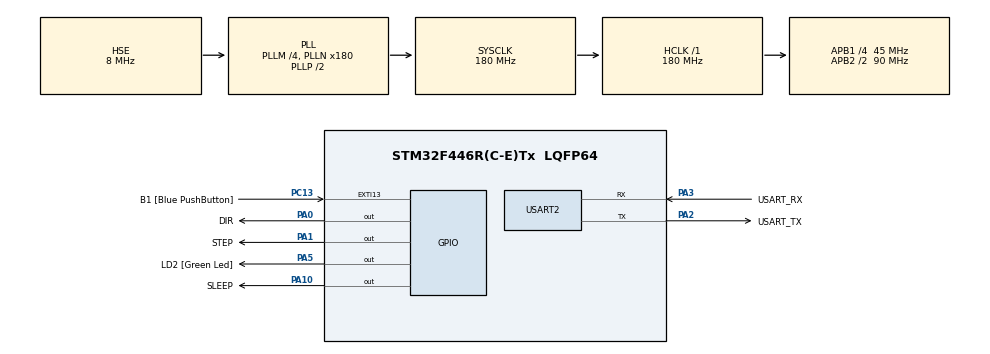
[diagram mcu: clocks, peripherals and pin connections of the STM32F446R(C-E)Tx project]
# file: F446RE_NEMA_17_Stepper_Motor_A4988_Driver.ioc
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Mcu.Family=STM32F4
Mcu.Name=STM32F446R(C-E)Tx
Mcu.Package=LQFP64
NVIC.EXTI15_10_IRQn=true\:0\:0\:false\:false\:true\:true\:true\:true
NVIC.PriorityGroup=NVIC_PRIORITYGROUP_0
NVIC.TIM1_UP_TIM10_IRQn=true\:0\:0\:false\:false\:true\:true\:true\:true
PA0-WKUP.GPIO_Label=DIR
PA0-WKUP.Signal=GPIO_Output
PA1.GPIO_Label=STEP
PA1.Signal=GPIO_Output
PA10.GPIO_Label=SLEEP
PA10.Signal=GPIO_Output
PA13.GPIO_Label=TMS
PA13.Mode=Serial_Wire
PA13.Signal=SYS_JTMS-SWDIO
PA14.GPIO_Label=TCK
PA14.Mode=Serial_Wire
PA14.Signal=SYS_JTCK-SWCLK
PA2.GPIO_Label=USART_TX
PA2.Mode=Asynchronous
PA2.Signal=USART2_TX
PA3.GPIO_Label=USART_RX
PA3.Mode=Asynchronous
PA3.Signal=USART2_RX
PA5.GPIO_Label=LD2 [Green Led]
PA5.Signal=GPIO_Output
PB3.GPIO_Label=SWO
PB3.Signal=SYS_JTDO-SWO
PC13.GPIO_Label=B1 [Blue PushButton]
PC13.GPIO_ModeDefaultEXTI=GPIO_MODE_IT_FALLING
PC13.Signal=GPXTI13
PC14-OSC32_IN.Mode=LSE-External-Oscillator
PC14-OSC32_IN.Signal=RCC_OSC32_IN
PC15-OSC32_OUT.Mode=LSE-External-Oscillator
PC15-OSC32_OUT.Signal=RCC_OSC32_OUT
PH0-OSC_IN.Mode=HSE-External-Oscillator
PH0-OSC_IN.Signal=RCC_OSC_IN
PH1-OSC_OUT.Mode=HSE-External-Oscillator
PH1-OSC_OUT.Signal=RCC_OSC_OUT
ProjectManager.HeapSize=0x200
ProjectManager.StackSize=0x400
ProjectManager.TargetToolchain=STM32CubeIDE
RCC.48MHZClocksFreq_Value=84000000
RCC.AHBFreq_Value=180000000
RCC.APB1CLKDivider=RCC_HCLK_DIV4
RCC.APB1Freq_Value=45000000
RCC.APB1TimFreq_Value=90000000
RCC.APB2CLKDivider=RCC_HCLK_DIV2
RCC.APB2Freq_Value=90000000
RCC.APB2TimFreq_Value=180000000
RCC.CortexFreq_Value=180000000
RCC.FLatency-AdvancedSettings=FLASH_LATENCY_5
RCC.HCLKFreq_Value=180000000
RCC.HSE_VALUE=8000000
RCC.HSI_VALUE=16000000
RCC.PLLM=4
RCC.PLLN=180
RCC.PLLSourceVirtual=RCC_PLLSOURCE_HSE
RCC.SYSCLKFreq_VALUE=180000000
RCC.SYSCLKSource=RCC_SYSCLKSOURCE_PLLCLK
RCC.USBFreq_Value=180000000
RCC.VCOOutputFreq_Value=360000000
TIM1.Period=1000-1
TIM1.Prescaler=180-1
USART2.VirtualMode=VM_ASYNC
VP_TIM1_VS_ClockSourceINT.Mode=Internal
board=NUCLEO-F446RE

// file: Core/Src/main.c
/* USER CODE BEGIN Header */
/**
  ******************************************************************************
  * @file           : main.c
  * @brief          : Main program body
  ******************************************************************************
  * @attention
  *
  * Copyright (c) 2024 STMicroelectronics.
  * All rights reserved.
  *
  * This software is licensed under terms that can be found in the LICENSE file
  * in the root directory of this software component.
  * If no LICENSE file comes with this software, it is provided AS-IS.
  *
  ******************************************************************************
  */
/* USER CODE END Header */
#include "main.h"

TIM_HandleTypeDef htim1;

UART_HandleTypeDef huart2;

void SystemClock_Config(void);
static void MX_GPIO_Init(void);
static void MX_USART2_UART_Init(void);
static void MX_TIM1_Init(void);

/* USER CODE BEGIN 0 */
uint16_t counter = 0;
uint16_t counter1 = 0;
void Motor_Forward_rev(uint16_t rev,uint16_t msdelay)
{
	  HAL_GPIO_WritePin(DIR_GPIO_Port, DIR_Pin, 1);

	  for(uint16_t i = 0 ;i < (rev * 200) ; i++)
	  {
		  HAL_GPIO_WritePin(STEP_GPIO_Port, STEP_Pin, 1);
		  HAL_Delay(msdelay);
		  HAL_GPIO_WritePin(STEP_GPIO_Port, STEP_Pin, 0);
		  HAL_Delay(msdelay);

	  }

}

void Motor_Reverse_rev(uint16_t rev,uint16_t msdelay)
{
	  HAL_GPIO_WritePin(DIR_GPIO_Port, DIR_Pin, 0);

	  for(uint16_t i = 0 ; i < (rev *200) ; i++)
	  {
		  HAL_GPIO_WritePin(STEP_GPIO_Port, STEP_Pin, 1);
		  HAL_Delay(msdelay);
		  HAL_GPIO_WritePin(STEP_GPIO_Port, STEP_Pin, 0);
		  HAL_Delay(msdelay);
	  }
}

void HAL_TIM_PeriodElapsedCallback(TIM_HandleTypeDef *htim)
{
	if(htim->Instance == TIM1)
	{
		counter++;
		counter1++;
		if(counter == 400)
		  {
			HAL_GPIO_WritePin(STEP_GPIO_Port, STEP_Pin, 1);
			counter = 0;
		  }
		if(counter1 == 400)
		  {
			HAL_GPIO_WritePin(STEP_GPIO_Port, STEP_Pin, 0);
			counter1 = 0;
		  }
	}
}
/* USER CODE END 0 */

int main(void)
{

  /* MCU Configuration--------------------------------------------------------*/

  /* Reset of all peripherals, Initializes the Flash interface and the Systick. */
  HAL_Init();

  /* Configure the system clock */
  SystemClock_Config();

  /* Initialize all configured peripherals */
  MX_GPIO_Init();
  MX_USART2_UART_Init();
  MX_TIM1_Init();
  /* USER CODE BEGIN 2 */
  HAL_TIM_Base_Start_IT(&htim1);
  /* USER CODE END 2 */

  /* Infinite loop */
  /* USER CODE BEGIN WHILE */
  while (1)
  {

	  //HAL_Delay(1000);
//	  Motor_Reverse_rev(5,5);
//	  HAL_Delay(1000);

    /* USER CODE END WHILE */

  }
}

void SystemClock_Config(void)
{
  RCC_OscInitTypeDef RCC_OscInitStruct = {0};
  RCC_ClkInitTypeDef RCC_ClkInitStruct = {0};

  /** Configure the main internal regulator output voltage
  */
  __HAL_RCC_PWR_CLK_ENABLE();
  __HAL_PWR_VOLTAGESCALING_CONFIG(PWR_REGULATOR_VOLTAGE_SCALE1);

  /** Initializes the RCC Oscillators according to the specified parameters
  * in the RCC_OscInitTypeDef structure.
  */
  RCC_OscInitStruct.OscillatorType = RCC_OSCILLATORTYPE_HSE;
  RCC_OscInitStruct.HSEState = RCC_HSE_ON;
  RCC_OscInitStruct.PLL.PLLState = RCC_PLL_ON;
  RCC_OscInitStruct.PLL.PLLSource = RCC_PLLSOURCE_HSE;
  RCC_OscInitStruct.PLL.PLLM = 4;
  RCC_OscInitStruct.PLL.PLLN = 180;
  RCC_OscInitStruct.PLL.PLLP = RCC_PLLP_DIV2;
  RCC_OscInitStruct.PLL.PLLQ = 2;
  RCC_OscInitStruct.PLL.PLLR = 2;
  if (HAL_RCC_OscConfig(&RCC_OscInitStruct) != HAL_OK)
  {
    Error_Handler();
  }

  /** Activate the Over-Drive mode
  */
  if (HAL_PWREx_EnableOverDrive() != HAL_OK)
  {
    Error_Handler();
  }

  /** Initializes the CPU, AHB and APB buses clocks
  */
  RCC_ClkInitStruct.ClockType = RCC_CLOCKTYPE_HCLK|RCC_CLOCKTYPE_SYSCLK
                              |RCC_CLOCKTYPE_PCLK1|RCC_CLOCKTYPE_PCLK2;
  RCC_ClkInitStruct.SYSCLKSource = RCC_SYSCLKSOURCE_PLLCLK;
  RCC_ClkInitStruct.AHBCLKDivider = RCC_SYSCLK_DIV1;
  RCC_ClkInitStruct.APB1CLKDivider = RCC_HCLK_DIV4;
  RCC_ClkInitStruct.APB2CLKDivider = RCC_HCLK_DIV2;

  if (HAL_RCC_ClockConfig(&RCC_ClkInitStruct, FLASH_LATENCY_5) != HAL_OK)
  {
    Error_Handler();
  }
}

static void MX_TIM1_Init(void)
{

  TIM_ClockConfigTypeDef sClockSourceConfig = {0};
  TIM_MasterConfigTypeDef sMasterConfig = {0};

  htim1.Instance = TIM1;
  htim1.Init.Prescaler = 180-1;
  htim1.Init.CounterMode = TIM_COUNTERMODE_UP;
  htim1.Init.Period = 10-1;
  htim1.Init.ClockDivision = TIM_CLOCKDIVISION_DIV1;
  htim1.Init.RepetitionCounter = 0;
  htim1.Init.AutoReloadPreload = TIM_AUTORELOAD_PRELOAD_DISABLE;
  if (HAL_TIM_Base_Init(&htim1) != HAL_OK)
  {
    Error_Handler();
  }
  sClockSourceConfig.ClockSource = TIM_CLOCKSOURCE_INTERNAL;
  if (HAL_TIM_ConfigClockSource(&htim1, &sClockSourceConfig) != HAL_OK)
  {
    Error_Handler();
  }
  sMasterConfig.MasterOutputTrigger = TIM_TRGO_RESET;
  sMasterConfig.MasterSlaveMode = TIM_MASTERSLAVEMODE_DISABLE;
  if (HAL_TIMEx_MasterConfigSynchronization(&htim1, &sMasterConfig) != HAL_OK)
  {
    Error_Handler();
  }

}

static void MX_USART2_UART_Init(void)
{

  huart2.Instance = USART2;
  huart2.Init.BaudRate = 115200;
  huart2.Init.WordLength = UART_WORDLENGTH_8B;
  huart2.Init.StopBits = UART_STOPBITS_1;
  huart2.Init.Parity = UART_PARITY_NONE;
  huart2.Init.Mode = UART_MODE_TX_RX;
  huart2.Init.HwFlowCtl = UART_HWCONTROL_NONE;
  huart2.Init.OverSampling = UART_OVERSAMPLING_16;
  if (HAL_UART_Init(&huart2) != HAL_OK)
  {
    Error_Handler();
  }

}

static void MX_GPIO_Init(void)
{
  GPIO_InitTypeDef GPIO_InitStruct = {0};

  /* GPIO Ports Clock Enable */
  __HAL_RCC_GPIOC_CLK_ENABLE();
  __HAL_RCC_GPIOH_CLK_ENABLE();
  __HAL_RCC_GPIOA_CLK_ENABLE();
  __HAL_RCC_GPIOB_CLK_ENABLE();

  /*Configure GPIO pin Output Level */
  HAL_GPIO_WritePin(GPIOA, DIR_Pin|STEP_Pin|LD2_Pin|SLEEP_Pin, GPIO_PIN_RESET);

  /*Configure GPIO pin : B1_Pin */
  GPIO_InitStruct.Pin = B1_Pin;
  GPIO_InitStruct.Mode = GPIO_MODE_IT_FALLING;
  GPIO_InitStruct.Pull = GPIO_NOPULL;
  HAL_GPIO_Init(B1_GPIO_Port, &GPIO_InitStruct);

  /*Configure GPIO pins : DIR_Pin STEP_Pin LD2_Pin SLEEP_Pin */
  GPIO_InitStruct.Pin = DIR_Pin|STEP_Pin|LD2_Pin|SLEEP_Pin;
  GPIO_InitStruct.Mode = GPIO_MODE_OUTPUT_PP;
  GPIO_InitStruct.Pull = GPIO_NOPULL;
  GPIO_InitStruct.Speed = GPIO_SPEED_FREQ_LOW;
  HAL_GPIO_Init(GPIOA, &GPIO_InitStruct);

  /* EXTI interrupt init*/
  HAL_NVIC_SetPriority(EXTI15_10_IRQn, 0, 0);
  HAL_NVIC_EnableIRQ(EXTI15_10_IRQn);

}

void Error_Handler(void)
{
  __disable_irq();
  while (1)
  {
  }
}
